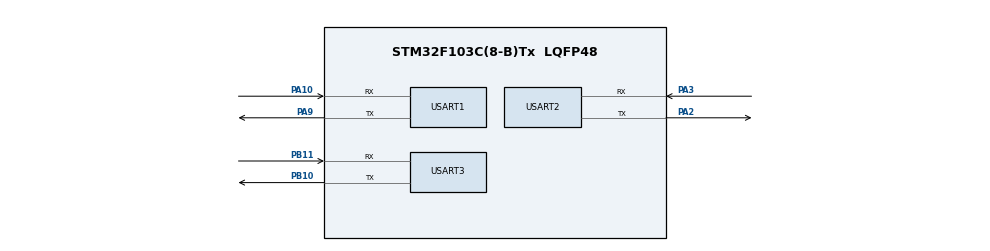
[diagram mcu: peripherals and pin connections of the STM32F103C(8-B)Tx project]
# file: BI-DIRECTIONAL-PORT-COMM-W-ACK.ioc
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Mcu.Family=STM32F1
Mcu.Name=STM32F103C(8-B)Tx
Mcu.Package=LQFP48
NVIC.PriorityGroup=NVIC_PRIORITYGROUP_4
NVIC.USART2_IRQn=true\:0\:0\:false\:false\:true\:true\:true\:true
NVIC.USART3_IRQn=true\:0\:0\:false\:false\:true\:true\:true\:true
PA10.Mode=Asynchronous
PA10.Signal=USART1_RX
PA13.Mode=Serial_Wire
PA13.Signal=SYS_JTMS-SWDIO
PA14.Mode=Serial_Wire
PA14.Signal=SYS_JTCK-SWCLK
PA2.Mode=Asynchronous
PA2.Signal=USART2_TX
PA3.Mode=Asynchronous
PA3.Signal=USART2_RX
PA9.Mode=Asynchronous
PA9.Signal=USART1_TX
PB10.Mode=Asynchronous
PB10.Signal=USART3_TX
PB11.Mode=Asynchronous
PB11.Signal=USART3_RX
ProjectManager.HeapSize=0x200
ProjectManager.StackSize=0x400
ProjectManager.TargetToolchain=STM32CubeIDE
RCC.APB1Freq_Value=8000000
RCC.APB2Freq_Value=8000000
USART1.VirtualMode=VM_ASYNC
USART2.VirtualMode=VM_ASYNC
USART3.VirtualMode=VM_ASYNC
board=custom

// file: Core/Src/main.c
/* USER CODE BEGIN Header */
/**
  ******************************************************************************
  * @file           : main.c
  * @brief          : Main program body
  ******************************************************************************
  * @attention
  *
  * Copyright (c) 2024 STMicroelectronics.
  * All rights reserved.
  *
  * This software is licensed under terms that can be found in the LICENSE file
  * in the root directory of this software component.
  * If no LICENSE file comes with this software, it is provided AS-IS.
  *
  ******************************************************************************
  */
/* USER CODE END Header */
#include "main.h"

/* USER CODE BEGIN Includes */

#include "bi_directional_port_comm.h"

/* USER CODE END Includes */

UART_HandleTypeDef huart1;
UART_HandleTypeDef huart2;
UART_HandleTypeDef huart3;

/* USER CODE BEGIN PV */

uint16_t uartRxBuffCount2 = 0;
uint8_t uartRXBuff2[255] = { 0 } ;
uint16_t uartRxBuffCount3 = 0;
uint8_t uartRXBuff3[255] = { 0 } ;

uint8_t biDirect_Flag = 0 ;

/* USER CODE END PV */

void SystemClock_Config(void);
static void MX_GPIO_Init(void);
static void MX_USART1_UART_Init(void);
static void MX_USART2_UART_Init(void);
static void MX_USART3_UART_Init(void);

int main(void)
{

  /* MCU Configuration--------------------------------------------------------*/

  /* Reset of all peripherals, Initializes the Flash interface and the Systick. */
  HAL_Init();

  /* Configure the system clock */
  SystemClock_Config();

  /* Initialize all configured peripherals */
  MX_GPIO_Init();
  MX_USART1_UART_Init();
  MX_USART2_UART_Init();
  MX_USART3_UART_Init();
  /* USER CODE BEGIN 2 */
  HAL_UART_Receive_IT(&huart2,&uartRXBuff2[uartRxBuffCount2],1);
  HAL_UART_Receive_IT(&huart3,&uartRXBuff3[uartRxBuffCount3],1);

  uint8_t *data = "well come\n";
  uint8_t size = strlen(data);
  memset(uartRXBuff2,0,sizeof(uartRXBuff2));
  UartTransfor(&huart1,data,size);

  /* USER CODE END 2 */

  /* Infinite loop */
  while (1)
  {

    /* USER CODE BEGIN 3 */

	  bi_directional_port_Comm_init(&biDirect_Flag);
//	  if(biDirect_Flag == 2)
//	  {
//		  	HAL_Delay(10);
//		    UartTransfor(&huart1, uartRXBuff,uartRxBuffCount);
//		    clearUartBuff();
//		    biDirect_Flag = 0;
//	  }

  }
  /* USER CODE END 3 */
}

void SystemClock_Config(void)
{
  RCC_OscInitTypeDef RCC_OscInitStruct = {0};
  RCC_ClkInitTypeDef RCC_ClkInitStruct = {0};

  /** Initializes the RCC Oscillators according to the specified parameters
  * in the RCC_OscInitTypeDef structure.
  */
  RCC_OscInitStruct.OscillatorType = RCC_OSCILLATORTYPE_HSI;
  RCC_OscInitStruct.HSIState = RCC_HSI_ON;
  RCC_OscInitStruct.HSICalibrationValue = RCC_HSICALIBRATION_DEFAULT;
  RCC_OscInitStruct.PLL.PLLState = RCC_PLL_NONE;
  if (HAL_RCC_OscConfig(&RCC_OscInitStruct) != HAL_OK)
  {
    Error_Handler();
  }

  /** Initializes the CPU, AHB and APB buses clocks
  */
  RCC_ClkInitStruct.ClockType = RCC_CLOCKTYPE_HCLK|RCC_CLOCKTYPE_SYSCLK
                              |RCC_CLOCKTYPE_PCLK1|RCC_CLOCKTYPE_PCLK2;
  RCC_ClkInitStruct.SYSCLKSource = RCC_SYSCLKSOURCE_HSI;
  RCC_ClkInitStruct.AHBCLKDivider = RCC_SYSCLK_DIV1;
  RCC_ClkInitStruct.APB1CLKDivider = RCC_HCLK_DIV1;
  RCC_ClkInitStruct.APB2CLKDivider = RCC_HCLK_DIV1;

  if (HAL_RCC_ClockConfig(&RCC_ClkInitStruct, FLASH_LATENCY_0) != HAL_OK)
  {
    Error_Handler();
  }
}

static void MX_USART1_UART_Init(void)
{

  huart1.Instance = USART1;
  huart1.Init.BaudRate = 115200;
  huart1.Init.WordLength = UART_WORDLENGTH_8B;
  huart1.Init.StopBits = UART_STOPBITS_1;
  huart1.Init.Parity = UART_PARITY_NONE;
  huart1.Init.Mode = UART_MODE_TX_RX;
  huart1.Init.HwFlowCtl = UART_HWCONTROL_NONE;
  huart1.Init.OverSampling = UART_OVERSAMPLING_16;
  if (HAL_UART_Init(&huart1) != HAL_OK)
  {
    Error_Handler();
  }

}

static void MX_USART2_UART_Init(void)
{

  huart2.Instance = USART2;
  huart2.Init.BaudRate = 115200;
  huart2.Init.WordLength = UART_WORDLENGTH_8B;
  huart2.Init.StopBits = UART_STOPBITS_1;
  huart2.Init.Parity = UART_PARITY_NONE;
  huart2.Init.Mode = UART_MODE_TX_RX;
  huart2.Init.HwFlowCtl = UART_HWCONTROL_NONE;
  huart2.Init.OverSampling = UART_OVERSAMPLING_16;
  if (HAL_UART_Init(&huart2) != HAL_OK)
  {
    Error_Handler();
  }

}

static void MX_USART3_UART_Init(void)
{

  huart3.Instance = USART3;
  huart3.Init.BaudRate = 115200;
  huart3.Init.WordLength = UART_WORDLENGTH_8B;
  huart3.Init.StopBits = UART_STOPBITS_1;
  huart3.Init.Parity = UART_PARITY_NONE;
  huart3.Init.Mode = UART_MODE_TX_RX;
  huart3.Init.HwFlowCtl = UART_HWCONTROL_NONE;
  huart3.Init.OverSampling = UART_OVERSAMPLING_16;
  if (HAL_UART_Init(&huart3) != HAL_OK)
  {
    Error_Handler();
  }

}

static void MX_GPIO_Init(void)
{

  /* GPIO Ports Clock Enable */
  __HAL_RCC_GPIOA_CLK_ENABLE();
  __HAL_RCC_GPIOB_CLK_ENABLE();

}

/* USER CODE BEGIN 4 */

void HAL_UART_RxCpltCallback(UART_HandleTypeDef *huart)
{

  if(huart == &huart2){//
	  biDirect_Flag = 2;

    uartRXBuff2[uartRxBuffCount2] = huart->Instance->DR;
    uartRxBuffCount2++;

  }
  if(huart == &huart3){//
	  biDirect_Flag = 3;

    uartRXBuff3[uartRxBuffCount3] = huart->Instance->DR;
    uartRxBuffCount3++;

  }
  HAL_UART_Receive_IT(&huart2,&uartRXBuff2[uartRxBuffCount2],1);
  HAL_UART_Receive_IT(&huart3,&uartRXBuff3[uartRxBuffCount3],1);

}

/* USER CODE END 4 */

void Error_Handler(void)
{
  __disable_irq();
  while (1)
  {
  }
}
